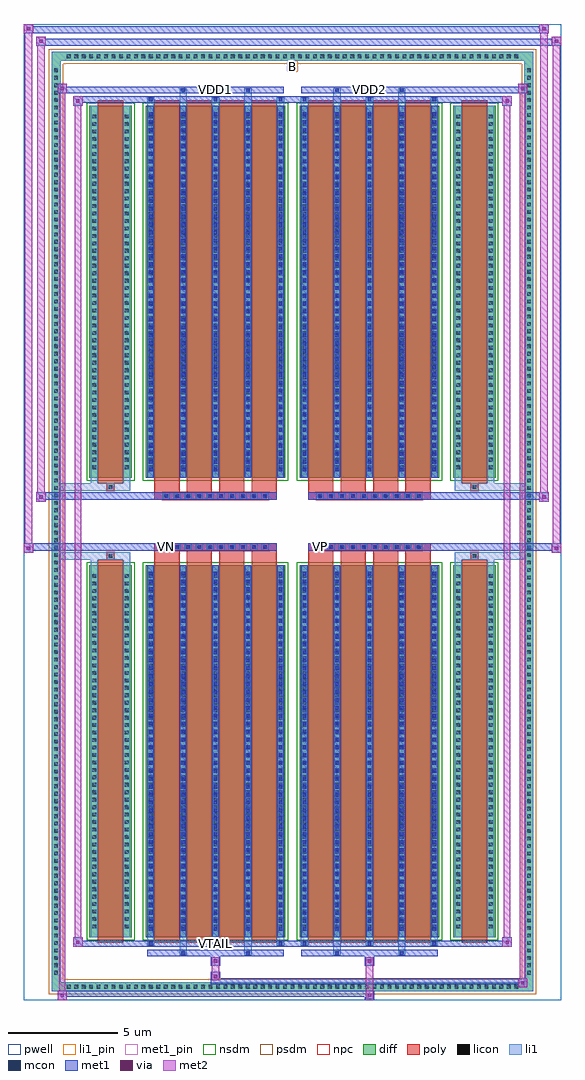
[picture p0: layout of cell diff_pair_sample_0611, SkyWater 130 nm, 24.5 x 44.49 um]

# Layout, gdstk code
import gdstk
lib = gdstk.Library(unit=1e-6, precision=5e-09)
def R(c, l, rs):  # rectangles x0, y0, x1, y1
    for r in rs: c.add(gdstk.rectangle(r[:2], r[2:], *l))
def A(c, l, x, y, w, h, nx, ny, dx, dy):  # array of equal rectangles
    R(c, l, [(x+i*dx, y+j*dy, x+i*dx+w, y+j*dy+h) for i in range(nx) for j in range(ny)])
def P(c, l, *ps):  # polygons
    for p in ps: c.add(gdstk.Polygon(p, *l))
pwell = (64, 44)
diff = (65, 20)
poly = (66, 20)
licon = (66, 44)
li1_pin = (67, 16)
li1 = (67, 20)
mcon = (67, 44)
met1_pin = (68, 16)
met1 = (68, 20)
via = (68, 44)
met2 = (69, 20)
nsdm = (93, 44)
psdm = (94, 20)
npc = (95, 20)

diff_pair_sample_0611 = lib.new_cell('diff_pair_sample_0611')
R(diff_pair_sample_0611, pwell, [(-12.25,-21.81,12.25,22.68), (-9.57,-20,-0.01,-0.8), (0.01,-20,9.57,-0.8), (-9.57,0.8,-0.01,20), (0.01,0.8,9.57,20)])
A(diff_pair_sample_0611, diff, -10.405, -21.41, 0.41, 0.41, 61, 2, 0.34, 42.41)
A(diff_pair_sample_0611, diff, -10.98, -20.775, 0.41, 0.41, 1, 122, 0, 0.34)
A(diff_pair_sample_0611, diff, 10.57, -20.775, 0.41, 0.41, 1, 122, 0, 0.34)
R(diff_pair_sample_0611, diff, [(-10.405,-21.41,10.405,-21), (-10.98,-20.775,-10.57,20.775), (10.57,-20.775,10.98,20.775), (-9.26,-18.955,-7.33,-1.985), (-6.69,-18.955,-0.32,-1.985), (0.32,-18.955,6.69,-1.985), (7.33,-18.955,9.26,-1.985), (-9.26,1.985,-7.33,18.955), (-6.69,1.985,-0.32,18.955), (0.32,1.985,6.69,18.955), (7.33,1.985,9.26,18.955), (-10.405,21,10.405,21.41)])
P(diff_pair_sample_0611, diff, [(10.98,21.41),(-10.98,21.41),(-10.98,-21),(-10.57,-21),(-10.57,21),(10.57,21),(10.57,-21),(-10.57,-21),(-10.98,-21),(-10.98,-21.41),(10.98,-21.41)])
A(diff_pair_sample_0611, poly, -6.3, -19.205, 1.15, 17.47, 4, 2, 1.48, 20.94)
A(diff_pair_sample_0611, poly, 0.71, -19.205, 1.15, 17.47, 4, 2, 1.48, 20.94)
A(diff_pair_sample_0611, poly, -6.3, -1.735, 1.15, 0.405, 4, 2, 1.48, 3.065)
A(diff_pair_sample_0611, poly, 0.71, -1.735, 1.15, 0.405, 4, 2, 1.48, 3.065)
A(diff_pair_sample_0611, poly, -5.92, -1.33, 0.33, 0.33, 10, 2, 0.5, 2.33)
A(diff_pair_sample_0611, poly, 1.09, -1.33, 0.33, 0.33, 10, 2, 0.5, 2.33)
R(diff_pair_sample_0611, poly, [(-8.87,-19.205,-7.72,-1.735), (7.72,-19.205,8.87,-1.735), (-8.46,-1.735,-8.13,-1.405), (-8.46,-1.735,-8.13,-1.405), (8.13,-1.735,8.46,-1.405), (8.13,-1.735,8.46,-1.405), (-6.3,-1.33,-0.71,-1), (0.71,-1.33,6.3,-1), (-6.3,1,-0.71,1.33), (0.71,1,6.3,1.33), (-8.46,1.405,-8.13,1.735), (-8.46,1.405,-8.13,1.735), (8.13,1.405,8.46,1.735), (8.13,1.405,8.46,1.735), (-8.87,1.735,-7.72,19.205), (7.72,1.735,8.87,19.205)])
A(diff_pair_sample_0611, licon, -10.285, -21.29, 0.17, 0.17, 61, 2, 0.34, 42.41)
A(diff_pair_sample_0611, licon, -10.86, -20.655, 0.17, 0.17, 1, 122, 0, 0.34)
A(diff_pair_sample_0611, licon, 10.69, -20.655, 0.17, 0.17, 1, 122, 0, 0.34)
A(diff_pair_sample_0611, licon, -9.12, -18.545, 0.17, 0.17, 1, 48, 0, 0.34)
A(diff_pair_sample_0611, licon, -7.64, -18.545, 0.17, 0.17, 1, 48, 0, 0.34)
A(diff_pair_sample_0611, licon, -6.55, -18.545, 0.17, 0.17, 5, 48, 1.48, 0.34)
A(diff_pair_sample_0611, licon, 0.46, -18.545, 0.17, 0.17, 5, 48, 1.48, 0.34)
A(diff_pair_sample_0611, licon, 7.47, -18.545, 0.17, 0.17, 1, 48, 0, 0.34)
A(diff_pair_sample_0611, licon, 8.95, -18.545, 0.17, 0.17, 1, 48, 0, 0.34)
A(diff_pair_sample_0611, licon, -5.84, -1.25, 0.17, 0.17, 10, 2, 0.5, 2.33)
A(diff_pair_sample_0611, licon, 1.17, -1.25, 0.17, 0.17, 10, 2, 0.5, 2.33)
A(diff_pair_sample_0611, licon, -9.12, 2.395, 0.17, 0.17, 1, 48, 0, 0.34)
A(diff_pair_sample_0611, licon, -7.64, 2.395, 0.17, 0.17, 1, 48, 0, 0.34)
A(diff_pair_sample_0611, licon, -6.55, 2.395, 0.17, 0.17, 5, 48, 1.48, 0.34)
A(diff_pair_sample_0611, licon, 0.46, 2.395, 0.17, 0.17, 5, 48, 1.48, 0.34)
A(diff_pair_sample_0611, licon, 7.47, 2.395, 0.17, 0.17, 1, 48, 0, 0.34)
A(diff_pair_sample_0611, licon, 8.95, 2.395, 0.17, 0.17, 1, 48, 0, 0.34)
R(diff_pair_sample_0611, licon, [(-8.38,-1.655,-8.21,-1.485), (8.21,-1.655,8.38,-1.485), (-8.38,1.485,-8.21,1.655), (8.21,1.485,8.38,1.655)])
R(diff_pair_sample_0611, li1_pin, [(-0.25,20.5,0.25,21)])
A(diff_pair_sample_0611, li1, -10.365, -21.37, 0.33, 0.33, 61, 2, 0.34, 42.41)
A(diff_pair_sample_0611, li1, -10.94, -20.735, 0.33, 0.33, 1, 122, 0, 0.34)
A(diff_pair_sample_0611, li1, 10.61, -20.735, 0.33, 0.33, 1, 122, 0, 0.34)
A(diff_pair_sample_0611, li1, -6.63, -19.33, 0.33, 0.375, 3, 2, 2.96, 38.285)
A(diff_pair_sample_0611, li1, -6.55, -19.33, 0.17, 0.17, 3, 2, 2.96, 38.49)
A(diff_pair_sample_0611, li1, 0.38, -19.33, 0.33, 0.375, 3, 2, 2.96, 38.285)
A(diff_pair_sample_0611, li1, 0.46, -19.33, 0.17, 0.17, 3, 2, 2.96, 38.49)
A(diff_pair_sample_0611, li1, -6.63, -18.955, 0.33, 16.97, 5, 2, 1.48, 20.94)
A(diff_pair_sample_0611, li1, 0.38, -18.955, 0.33, 16.97, 5, 2, 1.48, 20.94)
A(diff_pair_sample_0611, li1, -6.55, -18.655, 0.17, 0.17, 5, 46, 1.48, 0.36)
A(diff_pair_sample_0611, li1, -6.55, -18.655, 0.17, 16.37, 5, 2, 1.48, 20.94)
A(diff_pair_sample_0611, li1, 0.46, -18.655, 0.17, 0.17, 5, 46, 1.48, 0.36)
A(diff_pair_sample_0611, li1, 0.46, -18.655, 0.17, 16.37, 5, 2, 1.48, 20.94)
A(diff_pair_sample_0611, li1, -9.2, -18.625, 0.33, 0.33, 1, 48, 0, 0.34)
A(diff_pair_sample_0611, li1, -7.72, -18.625, 0.33, 0.33, 1, 48, 0, 0.34)
A(diff_pair_sample_0611, li1, -6.63, -18.625, 0.33, 0.33, 5, 48, 1.48, 0.34)
A(diff_pair_sample_0611, li1, 0.38, -18.625, 0.33, 0.33, 5, 48, 1.48, 0.34)
A(diff_pair_sample_0611, li1, 7.39, -18.625, 0.33, 0.33, 1, 48, 0, 0.34)
A(diff_pair_sample_0611, li1, 8.87, -18.625, 0.33, 0.33, 1, 48, 0, 0.34)
A(diff_pair_sample_0611, li1, -5.92, -1.33, 0.33, 0.33, 10, 2, 0.5, 2.33)
A(diff_pair_sample_0611, li1, 1.09, -1.33, 0.33, 0.33, 10, 2, 0.5, 2.33)
A(diff_pair_sample_0611, li1, -6.55, 2.285, 0.17, 0.17, 5, 46, 1.48, 0.36)
A(diff_pair_sample_0611, li1, 0.46, 2.285, 0.17, 0.17, 5, 46, 1.48, 0.36)
A(diff_pair_sample_0611, li1, -9.2, 2.315, 0.33, 0.33, 1, 48, 0, 0.34)
A(diff_pair_sample_0611, li1, -7.72, 2.315, 0.33, 0.33, 1, 48, 0, 0.34)
A(diff_pair_sample_0611, li1, -6.63, 2.315, 0.33, 0.33, 5, 48, 1.48, 0.34)
A(diff_pair_sample_0611, li1, 0.38, 2.315, 0.33, 0.33, 5, 48, 1.48, 0.34)
A(diff_pair_sample_0611, li1, 7.39, 2.315, 0.33, 0.33, 1, 48, 0, 0.34)
A(diff_pair_sample_0611, li1, 8.87, 2.315, 0.33, 0.33, 1, 48, 0, 0.34)
R(diff_pair_sample_0611, li1, [(-10.98,-21.41,-10.57,-21), (-10.98,-21.41,-10.57,-21), (-10.57,-21.41,10.57,-21), (10.57,-21.41,10.98,-21), (10.57,-21.41,10.98,-21), (-10.98,-21,-10.57,21), (10.57,-21,10.98,21), (-5.15,-19.76,-4.82,-18.955), (-5.07,-19.76,-4.9,-19.59), (-2.19,-19.76,-1.86,-18.955), (-2.11,-19.76,-1.94,-19.59), (1.86,-19.76,2.19,-18.955), (1.94,-19.76,2.11,-19.59), (4.82,-19.76,5.15,-18.955), (4.9,-19.76,5.07,-19.59), (-9.2,-18.955,-8.87,-1.985), (-7.72,-18.955,-7.39,-1.985), (7.39,-18.955,7.72,-1.985), (8.87,-18.955,9.2,-1.985), (-9.2,-1.985,-8.87,-1.405), (-7.72,-1.985,-7.39,-1.405), (7.39,-1.985,7.72,-1.405), (8.87,-1.985,9.2,-1.405), (-10.98,-1.735,-8.46,-1.405), (-9.2,-1.735,-8.46,-1.405), (-8.46,-1.735,-8.13,-1.405), (-8.13,-1.735,-7.39,-1.405), (7.39,-1.735,8.13,-1.405), (8.13,-1.735,8.46,-1.405), (8.13,-1.735,10.98,-1.405), (8.46,-1.735,9.2,-1.405), (-10.98,1.405,-8.46,1.735), (-9.2,1.405,-8.46,1.735), (-9.2,1.405,-8.87,1.985), (-8.46,1.405,-8.13,1.735), (-8.13,1.405,-7.39,1.735), (-7.72,1.405,-7.39,1.985), (7.39,1.405,8.13,1.735), (7.39,1.405,7.72,1.985), (8.13,1.405,8.46,1.735), (8.13,1.405,10.98,1.735), (8.46,1.405,9.2,1.735), (8.87,1.405,9.2,1.985), (-9.2,1.985,-8.87,18.955), (-7.72,1.985,-7.39,18.955), (7.39,1.985,7.72,18.955), (8.87,1.985,9.2,18.955), (-5.15,18.955,-4.82,19.76), (-2.19,18.955,-1.86,19.76), (1.86,18.955,2.19,19.76), (4.82,18.955,5.15,19.76), (-5.07,19.59,-4.9,19.76), (-2.11,19.59,-1.94,19.76), (1.94,19.59,2.11,19.76), (4.9,19.59,5.07,19.76), (-10.98,21,-10.57,21.41), (-10.98,21,-10.57,21.41), (-10.57,21,10.57,21.41), (10.57,21,10.98,21.41), (10.57,21,10.98,21.41)])
A(diff_pair_sample_0611, mcon, -6.55, -19.33, 0.17, 0.17, 3, 2, 2.96, 38.49)
A(diff_pair_sample_0611, mcon, 0.46, -19.33, 0.17, 0.17, 3, 2, 2.96, 38.49)
A(diff_pair_sample_0611, mcon, -6.55, -18.655, 0.17, 0.17, 5, 46, 1.48, 0.36)
A(diff_pair_sample_0611, mcon, 0.46, -18.655, 0.17, 0.17, 5, 46, 1.48, 0.36)
A(diff_pair_sample_0611, mcon, -5.84, -1.25, 0.17, 0.17, 10, 2, 0.5, 2.33)
A(diff_pair_sample_0611, mcon, 1.17, -1.25, 0.17, 0.17, 10, 2, 0.5, 2.33)
A(diff_pair_sample_0611, mcon, -6.55, 2.285, 0.17, 0.17, 5, 46, 1.48, 0.36)
A(diff_pair_sample_0611, mcon, 0.46, 2.285, 0.17, 0.17, 5, 46, 1.48, 0.36)
R(diff_pair_sample_0611, mcon, [(-5.07,-19.76,-4.9,-19.59), (-2.11,-19.76,-1.94,-19.59), (1.94,-19.76,2.11,-19.59), (4.9,-19.76,5.07,-19.59), (-5.07,19.59,-4.9,19.76), (-2.11,19.59,-1.94,19.76), (1.94,19.59,2.11,19.76), (4.9,19.59,5.07,19.76)])
R(diff_pair_sample_0611, met1_pin, [(-3.64,-19.37,-3.37,-19.1), (-5.89,-1.29,-5.62,-1.02), (1.12,-1.29,1.39,-1.02), (-3.64,19.55,-3.37,19.82), (3.37,19.55,3.64,19.82)])
A(diff_pair_sample_0611, met1, -6.61, -19.39, 0.29, 0.29, 3, 2, 2.96, 38.49)
A(diff_pair_sample_0611, met1, 0.4, -19.39, 0.29, 0.29, 3, 2, 2.96, 38.49)
A(diff_pair_sample_0611, met1, -6.61, -18.955, 0.29, 16.97, 5, 2, 1.48, 20.94)
A(diff_pair_sample_0611, met1, 0.4, -18.955, 0.29, 16.97, 5, 2, 1.48, 20.94)
A(diff_pair_sample_0611, met1, -6.61, -18.715, 0.29, 0.29, 5, 46, 1.48, 0.36)
A(diff_pair_sample_0611, met1, 0.4, -18.715, 0.29, 0.29, 5, 46, 1.48, 0.36)
A(diff_pair_sample_0611, met1, -5.9, -1.31, 0.29, 0.29, 10, 2, 0.5, 2.33)
A(diff_pair_sample_0611, met1, 1.11, -1.31, 0.29, 0.29, 10, 2, 0.5, 2.33)
A(diff_pair_sample_0611, met1, -6.61, 2.225, 0.29, 0.29, 5, 46, 1.48, 0.36)
A(diff_pair_sample_0611, met1, 0.4, 2.225, 0.29, 0.29, 5, 46, 1.48, 0.36)
R(diff_pair_sample_0611, met1, [(-10.71,-21.81,-10.28,-21.38), (3.29,-21.81,3.72,-21.38), (-10.71,-21.67,3.72,-21.38), (10.28,-21.24,10.71,-20.81), (-3.72,-21.1,10.71,-20.81), (-3.72,-20.96,-3.29,-20.53), (-3.72,-20.25,-3.29,-19.82), (3.29,-20.25,3.72,-19.82), (-6.61,-19.82,-0.4,-19.53), (-5.13,-19.82,-4.84,-19.53), (-2.17,-19.82,-1.88,-19.53), (0.4,-19.82,6.61,-19.53), (1.88,-19.82,2.17,-19.53), (4.84,-19.82,5.13,-19.53), (-10,-19.39,-9.57,-18.96), (-10,-19.39,-6.61,-19.1), (-6.61,-19.39,-0.4,-19.1), (-0.4,-19.39,0.4,-19.1), (0.4,-19.39,6.61,-19.1), (6.61,-19.39,10,-19.1), (9.57,-19.39,10,-18.96), (-12.25,-1.43,-11.82,-1), (11.82,-1.43,12.25,-1), (-12.25,-1.33,-0.71,-1), (-6.3,-1.33,-0.71,-1), (0.71,-1.33,6.3,-1), (0.71,-1.33,12.25,-1), (-11.68,0.9,-11.25,1.33), (11.25,0.9,11.68,1.33), (-11.68,1,-6.3,1.33), (-6.3,1,-0.71,1.33), (0.71,1,6.3,1.33), (6.3,1,11.68,1.33), (-10,18.96,-9.57,19.39), (9.57,18.96,10,19.39), (-10,19.1,-6.61,19.39), (-6.61,19.1,-0.4,19.39), (-0.4,19.1,0.4,19.39), (0.4,19.1,6.61,19.39), (6.61,19.1,10,19.39), (-10.71,19.53,-10.28,19.96), (-10.71,19.53,-6.61,19.82), (-6.61,19.53,-0.4,19.82), (-5.13,19.53,-4.84,19.82), (-2.17,19.53,-1.88,19.82), (0.4,19.53,6.61,19.82), (1.88,19.53,2.17,19.82), (4.84,19.53,5.13,19.82), (6.61,19.53,10.71,19.82), (10.28,19.53,10.71,19.96), (-11.68,21.68,-11.25,22.11), (-11.68,21.68,-9.57,22.01), (-9.57,21.68,9.57,22.01), (9.57,21.68,12.25,22.01), (11.82,21.68,12.25,22.11), (-12.25,22.25,-11.82,22.68), (-12.25,22.25,-9.57,22.58), (-9.57,22.25,9.57,22.58), (9.57,22.25,11.68,22.58), (11.25,22.25,11.68,22.68)])
R(diff_pair_sample_0611, via, [(-10.57,-21.67,-10.42,-21.52), (3.43,-21.67,3.58,-21.52), (10.42,-21.1,10.57,-20.95), (-3.58,-20.82,-3.43,-20.67), (-3.58,-20.11,-3.43,-19.96), (3.43,-20.11,3.58,-19.96), (-9.86,-19.25,-9.71,-19.1), (9.71,-19.25,9.86,-19.1), (-12.11,-1.29,-11.96,-1.14), (11.96,-1.29,12.11,-1.14), (-11.54,1.04,-11.39,1.19), (11.39,1.04,11.54,1.19), (-9.86,19.1,-9.71,19.25), (9.71,19.1,9.86,19.25), (-10.57,19.67,-10.42,19.82), (10.42,19.67,10.57,19.82), (-11.54,21.82,-11.39,21.97), (11.96,21.82,12.11,21.97), (-12.11,22.39,-11.96,22.54), (11.39,22.39,11.54,22.54)])
R(diff_pair_sample_0611, met2, [(-10.71,-21.81,-10.28,-21.38), (-10.64,-21.81,-10.35,19.96), (-10.35,-21.81,-10.28,-21.38), (-10.66,-21.76,-10.33,-21.43), (3.34,-21.76,3.67,-21.43), (3.34,-21.43,3.67,-20.2), (10.28,-21.24,10.71,-20.81), (10.35,-21.24,10.64,19.96), (10.64,-21.24,10.71,-20.81), (10.33,-21.19,10.66,-20.86), (-3.67,-20.91,-3.34,-20.58), (-3.67,-20.58,-3.34,-20.2), (-3.67,-20.2,-3.34,-19.87), (3.34,-20.2,3.67,-19.87), (-10,-19.39,-9.57,-18.96), (-9.93,-19.39,-9.64,19.39), (-9.64,-19.39,-9.57,-18.96), (9.57,-19.39,10,-18.96), (9.64,-19.39,9.93,19.39), (9.93,-19.39,10,-18.96), (-9.95,-19.34,-9.62,-19.01), (9.62,-19.34,9.95,-19.01), (-12.25,-1.43,-11.82,-1), (-12.2,-1.43,-11.87,22.68), (-11.87,-1.43,-11.82,-1), (11.82,-1.43,12.25,-1), (11.87,-1.43,12.2,22.11), (12.2,-1.43,12.25,-1), (-12.2,-1.38,-11.87,-1.05), (11.87,-1.38,12.2,-1.05), (-11.68,0.9,-11.25,1.33), (-11.63,0.9,-11.3,22.11), (-11.3,0.9,-11.25,1.33), (11.25,0.9,11.68,1.33), (11.3,0.9,11.63,22.68), (11.63,0.9,11.68,1.33), (-11.63,0.95,-11.3,1.28), (11.3,0.95,11.63,1.28), (-10,18.96,-9.57,19.39), (-9.64,18.96,-9.57,19.39), (9.57,18.96,10,19.39), (9.93,18.96,10,19.39), (-9.95,19.01,-9.62,19.34), (9.62,19.01,9.95,19.34), (-10.71,19.53,-10.28,19.96), (-10.35,19.53,-10.28,19.96), (10.28,19.53,10.71,19.96), (10.64,19.53,10.71,19.96), (-10.66,19.58,-10.33,19.91), (10.33,19.58,10.66,19.91), (-11.68,21.68,-11.25,22.11), (-11.3,21.68,-11.25,22.11), (11.82,21.68,12.25,22.11), (12.2,21.68,12.25,22.11), (-11.63,21.73,-11.3,22.06), (11.87,21.73,12.2,22.06), (-12.25,22.25,-11.82,22.68), (-11.87,22.25,-11.82,22.68), (11.25,22.25,11.68,22.68), (11.63,22.25,11.68,22.68), (-12.2,22.3,-11.87,22.63), (11.3,22.3,11.63,22.63)])
R(diff_pair_sample_0611, nsdm, [(-9.39,-19.085,-7.2,-1.855), (-6.82,-19.085,-0.19,-1.855), (0.19,-19.085,6.82,-1.855), (7.2,-19.085,9.39,-1.855), (-9.39,1.855,-7.2,19.085), (-6.82,1.855,-0.19,19.085), (0.19,1.855,6.82,19.085), (7.2,1.855,9.39,19.085)])
P(diff_pair_sample_0611, psdm, [(11.11,21.54),(-11.11,21.54),(-11.11,-20.87),(-10.44,-20.87),(-10.44,20.87),(10.44,20.87),(10.44,-20.87),(-10.44,-20.87),(-11.11,-20.87),(-11.11,-21.54),(11.11,-21.54)])
A(diff_pair_sample_0611, npc, -5.94, -1.35, 0.37, 0.37, 10, 2, 0.5, 2.33)
A(diff_pair_sample_0611, npc, 1.07, -1.35, 0.37, 0.37, 10, 2, 0.5, 2.33)
R(diff_pair_sample_0611, npc, [(-8.48,-1.755,-8.11,-1.385), (8.11,-1.755,8.48,-1.385), (-5.94,-1.35,-5.07,-0.98), (-5.94,-1.35,-5.07,-0.98), (-5.44,-1.35,-4.57,-0.98), (-5.44,-1.35,-4.57,-0.98), (-4.94,-1.35,-4.07,-0.98), (-4.94,-1.35,-4.07,-0.98), (-4.44,-1.35,-3.57,-0.98), (-4.44,-1.35,-3.57,-0.98), (-3.94,-1.35,-3.07,-0.98), (-3.94,-1.35,-3.07,-0.98), (-3.44,-1.35,-2.57,-0.98), (-3.44,-1.35,-2.57,-0.98), (-2.94,-1.35,-2.07,-0.98), (-2.94,-1.35,-2.07,-0.98), (-2.44,-1.35,-1.57,-0.98), (-2.44,-1.35,-1.57,-0.98), (-1.94,-1.35,-1.07,-0.98), (-1.94,-1.35,-1.07,-0.98), (1.07,-1.35,1.94,-0.98), (1.07,-1.35,1.94,-0.98), (1.57,-1.35,2.44,-0.98), (1.57,-1.35,2.44,-0.98), (2.07,-1.35,2.94,-0.98), (2.07,-1.35,2.94,-0.98), (2.57,-1.35,3.44,-0.98), (2.57,-1.35,3.44,-0.98), (3.07,-1.35,3.94,-0.98), (3.07,-1.35,3.94,-0.98), (3.57,-1.35,4.44,-0.98), (3.57,-1.35,4.44,-0.98), (4.07,-1.35,4.94,-0.98), (4.07,-1.35,4.94,-0.98), (4.57,-1.35,5.44,-0.98), (4.57,-1.35,5.44,-0.98), (5.07,-1.35,5.94,-0.98), (5.07,-1.35,5.94,-0.98), (-5.94,0.98,-5.07,1.35), (-5.94,0.98,-5.07,1.35), (-5.44,0.98,-4.57,1.35), (-5.44,0.98,-4.57,1.35), (-4.94,0.98,-4.07,1.35), (-4.94,0.98,-4.07,1.35), (-4.44,0.98,-3.57,1.35), (-4.44,0.98,-3.57,1.35), (-3.94,0.98,-3.07,1.35), (-3.94,0.98,-3.07,1.35), (-3.44,0.98,-2.57,1.35), (-3.44,0.98,-2.57,1.35), (-2.94,0.98,-2.07,1.35), (-2.94,0.98,-2.07,1.35), (-2.44,0.98,-1.57,1.35), (-2.44,0.98,-1.57,1.35), (-1.94,0.98,-1.07,1.35), (-1.94,0.98,-1.07,1.35), (1.07,0.98,1.94,1.35), (1.07,0.98,1.94,1.35), (1.57,0.98,2.44,1.35), (1.57,0.98,2.44,1.35), (2.07,0.98,2.94,1.35), (2.07,0.98,2.94,1.35), (2.57,0.98,3.44,1.35), (2.57,0.98,3.44,1.35), (3.07,0.98,3.94,1.35), (3.07,0.98,3.94,1.35), (3.57,0.98,4.44,1.35), (3.57,0.98,4.44,1.35), (4.07,0.98,4.94,1.35), (4.07,0.98,4.94,1.35), (4.57,0.98,5.44,1.35), (4.57,0.98,5.44,1.35), (5.07,0.98,5.94,1.35), (5.07,0.98,5.94,1.35), (-8.48,1.385,-8.11,1.755), (8.11,1.385,8.48,1.755)])
diff_pair_sample_0611.add(gdstk.Label('VTAIL', (-3.505,-19.235), layer=68, texttype=5))
diff_pair_sample_0611.add(gdstk.Label('VN', (-5.755,-1.155), layer=68, texttype=5))
diff_pair_sample_0611.add(gdstk.Label('VP', (1.255,-1.155), layer=68, texttype=5))
diff_pair_sample_0611.add(gdstk.Label('B', (0,20.75), layer=67, texttype=5))
diff_pair_sample_0611.add(gdstk.Label('VDD2', (3.505,19.685), layer=68, texttype=5))
diff_pair_sample_0611.add(gdstk.Label('VDD1', (-3.505,19.685), layer=68, texttype=5))

lib.write_gds('diff_pair_sample_0611.gds')
